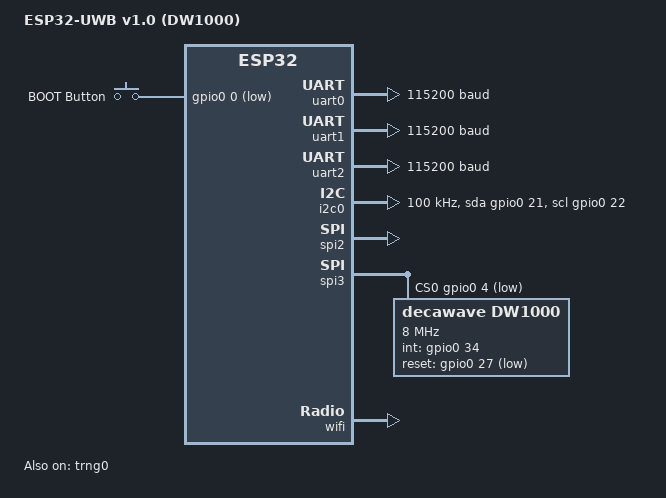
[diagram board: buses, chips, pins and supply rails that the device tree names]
/*
 * Copyright (c) 2019 Intel Corporation.
 *
 * SPDX-License-Identifier: Apache-2.0
 */
/dts-v1/;

#include <espressif/esp32/esp32_wrover_e_n16r8.dtsi>
#include "esp32_uwb-pinctrl.dtsi"
#include <espressif/partitions_0x1000_amp_16M.dtsi>

/ {
	model = "ESP32-UWB v1.0 (DW1000)";
	compatible = "espressif,esp32";

	chosen {
		zephyr,sram = &sram1;
		zephyr,console = &uart0;
		zephyr,shell-uart = &uart0;
		zephyr,flash = &flash0;
		zephyr,ieee802154 = &dw1000;
		zephyr,code-partition = &slot0_partition;
		zephyr,bt-hci = &esp32_bt_hci;
	};

	aliases {
		uart-0 = &uart0;
		i2c-0 = &i2c0;
		sw0 = &button0;
		watchdog0 = &wdt0;
	};

	buttons {
		compatible = "gpio-keys";
		button0: button_0 {
			gpios = <&gpio0 0 (GPIO_PULL_UP | GPIO_ACTIVE_LOW)>;
			label = "BOOT Button";
		};
	};

};

&uart0 {
	status = "okay";
	current-speed = <115200>;
	pinctrl-0 = <&uart0_default>;
	pinctrl-names = "default";
};

&uart1 {
	current-speed = <115200>;
	pinctrl-0 = <&uart1_default>;
	pinctrl-names = "default";
};

&uart2 {
	current-speed = <115200>;
	pinctrl-0 = <&uart2_default>;
	pinctrl-names = "default";
};

&gpio0 {
	status = "okay";
};

&gpio1 {
	status = "okay";
};

&i2c0 {
	status = "okay";
	clock-frequency = <I2C_BITRATE_STANDARD>;
	sda-gpios = <&gpio0 21 GPIO_OPEN_DRAIN>;
	scl-gpios = <&gpio0 22 GPIO_OPEN_DRAIN>;
	pinctrl-0 = <&i2c0_default>;
	pinctrl-names = "default";
};

&spi2 {
	#address-cells = <1>;
	#size-cells = <0>;
	status = "okay";
	pinctrl-0 = <&spim2_default>;
	pinctrl-names = "default";
};

&spi3 {
	#address-cells = <1>;
	#size-cells = <0>;
	status = "okay";
	cs-gpios = <&gpio0 4 GPIO_ACTIVE_LOW>;
	pinctrl-0 = <&spim3_default>;
	pinctrl-names = "default";
	
	dw1000: dw1000@0 {
		compatible = "decawave,dw1000";
		reg = <0>;
		spi-max-frequency = <8000000>;
		int-gpios = <&gpio0 34 GPIO_ACTIVE_HIGH>;       /* P0.19 */
		reset-gpios = <&gpio0 27 GPIO_ACTIVE_LOW>;      /* P0.24 */
		status = "okay";
	};
};

&timer0 {
	status = "disabled";
};

&timer1 {
	status = "disabled";
};

&timer2 {
	status = "disabled";
};

&timer3 {
	status = "disabled";
};

&trng0 {
	status = "okay";
};

&wifi {
	status = "okay";
};
